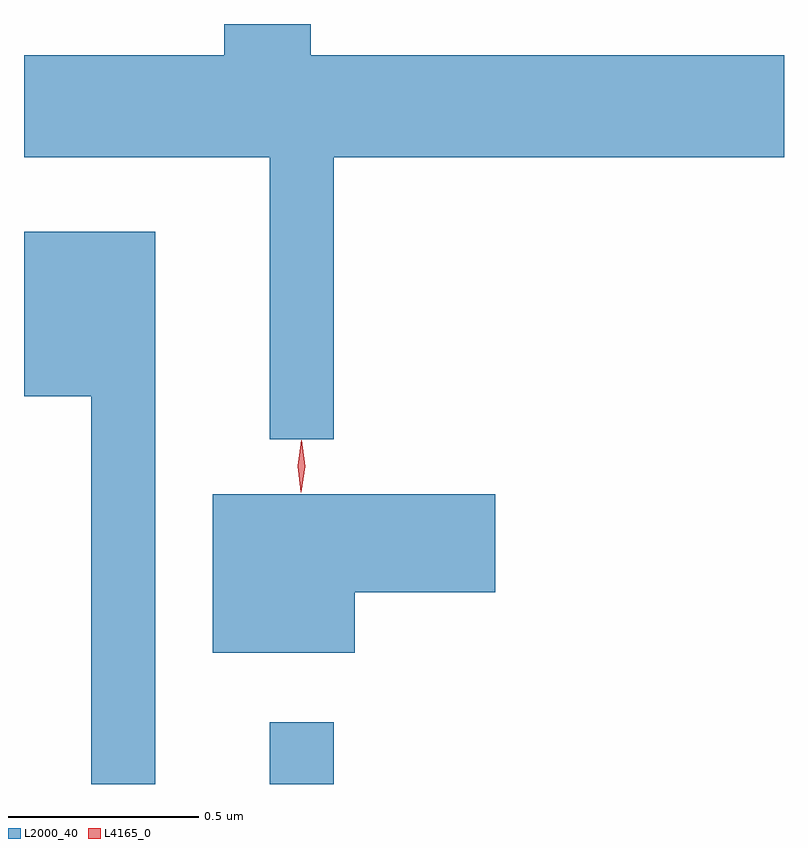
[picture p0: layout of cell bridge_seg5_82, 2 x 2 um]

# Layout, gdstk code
import gdstk
lib = gdstk.Library(unit=1e-6, precision=1e-09)
def R(c, l, rs):  # rectangles x0, y0, x1, y1
    for r in rs: c.add(gdstk.rectangle(r[:2], r[2:], *l))
def P(c, l, *ps):  # polygons
    for p in ps: c.add(gdstk.Polygon(p, *l))
L2000_40 = (2000, 40)
L4165_0 = (4165, 0)

bridge_seg5_82 = lib.new_cell('bridge_seg5_82')
R(bridge_seg5_82, L2000_40, [(1225.371,1486.226,1225.539,1486.388)])
P(bridge_seg5_82, L2000_40, [(1225.539,1487.876),(1226.724,1487.876),(1226.724,1488.144),(1225.479,1488.144),(1225.479,1488.226),(1225.251,1488.226),(1225.251,1488.144),(1224.724,1488.144),(1224.724,1487.876),(1225.371,1487.876),(1225.371,1487.133),(1225.539,1487.133)],
  [(1225.069,1487.679),(1224.724,1487.679),(1224.724,1487.246),(1224.901,1487.246),(1224.901,1486.226),(1225.069,1486.226)],
  [(1225.594,1486.731),(1225.964,1486.731),(1225.964,1486.989),(1225.221,1486.989),(1225.221,1486.571),(1225.594,1486.571)])
P(bridge_seg5_82, L4165_0, [(1225.452,1487),(1225.452,1487.001),(1225.444,1487.064),(1225.454,1487.126),(1225.454,1487.127),(1225.455,1487.126),(1225.463,1487.063),(1225.453,1487.001)],
  [(1225.452,1486.994),(1225.444,1487.062),(1225.454,1487.13),(1225.454,1487.13),(1225.455,1487.13),(1225.464,1487.062),(1225.453,1486.994),(1225.453,1486.994)])

lib.write_gds('bridge_seg5_82.gds')
